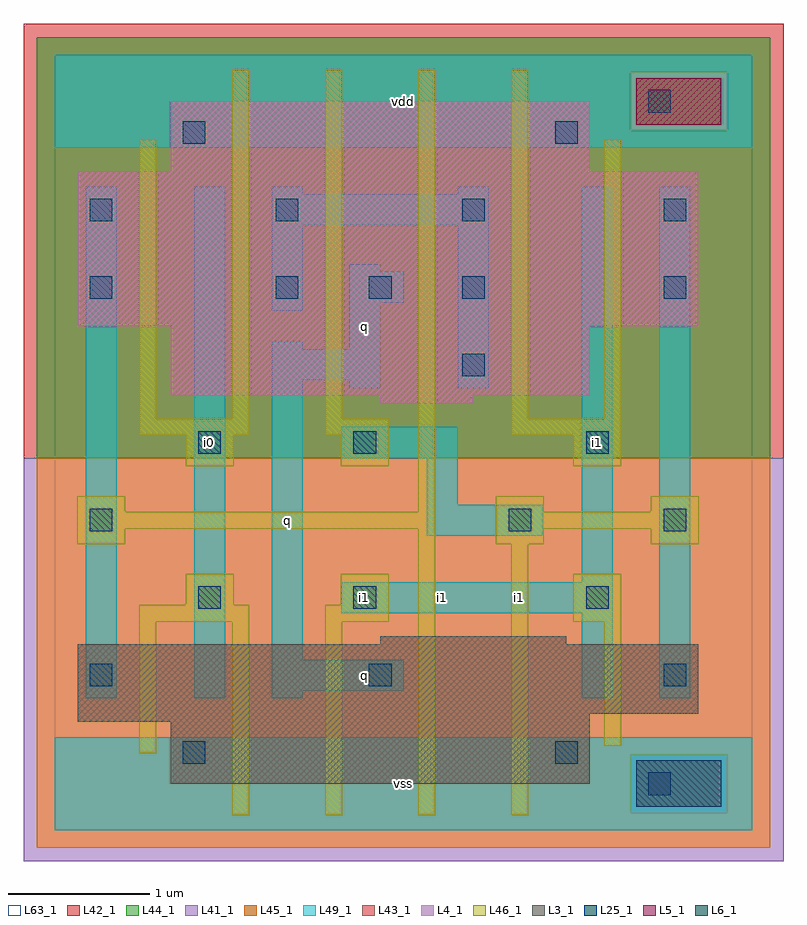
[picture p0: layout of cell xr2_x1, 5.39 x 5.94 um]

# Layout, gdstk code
import gdstk
lib = gdstk.Library(unit=1e-6, precision=1e-09)
def R(c, l, rs):  # rectangles x0, y0, x1, y1
    for r in rs: c.add(gdstk.rectangle(r[:2], r[2:], *l))
def A(c, l, x, y, w, h, nx, ny, dx, dy):  # array of equal rectangles
    R(c, l, [(x+i*dx, y+j*dy, x+i*dx+w, y+j*dy+h) for i in range(nx) for j in range(ny)])
L3_1 = (3, 1)
L4_1 = (4, 1)
L5_1 = (5, 1)
L6_1 = (6, 1)
L25_1 = (25, 1)
L41_1 = (41, 1)
L42_1 = (42, 1)
L43_1 = (43, 1)
L44_1 = (44, 1)
L45_1 = (45, 1)
L46_1 = (46, 1)
L49_1 = (49, 1)
L63_1 = (63, 1)

xr2_x1 = lib.new_cell('xr2_x1')
R(xr2_x1, L3_1, [(0.825,0.33,3.795,0.77), (0.165,0.77,3.795,0.825), (0.165,0.825,4.565,1.32), (2.31,1.32,3.63,1.375)])
R(xr2_x1, L4_1, [(2.31,3.025,2.97,3.08), (0.825,3.08,3.795,3.575), (0.165,3.575,4.565,4.675), (0.825,4.675,3.795,5.17)])
R(xr2_x1, L5_1, [(4.125,5.005,4.73,5.335)])
R(xr2_x1, L6_1, [(4.125,0.165,4.73,0.495)])
A(xr2_x1, L25_1, 1.57, 3.77, 0.16, 0.16, 3, 1, 0.66, 0)
A(xr2_x1, L25_1, 0.25, 4.32, 0.16, 0.16, 3, 1, 1.32, 0)
R(xr2_x1, L25_1, [(4.21,0.25,4.37,0.41), (0.91,0.47,1.07,0.63), (3.55,0.47,3.71,0.63), (0.25,1.02,0.41,1.18), (2.23,1.02,2.39,1.18), (4.32,1.02,4.48,1.18), (1.02,1.57,1.18,1.73), (2.12,1.57,2.28,1.73), (3.77,1.57,3.93,1.73), (0.25,2.12,0.41,2.28), (3.22,2.12,3.38,2.28), (4.32,2.12,4.48,2.28), (1.02,2.67,1.18,2.83), (2.12,2.67,2.28,2.83), (3.77,2.67,3.93,2.83), (2.89,3.22,3.05,3.38), (0.25,3.77,0.41,3.93), (4.32,3.77,4.48,3.93), (4.32,4.32,4.48,4.48), (0.91,4.87,1.07,5.03), (3.55,4.87,3.71,5.03), (4.21,5.09,4.37,5.25)])
R(xr2_x1, L41_1, [(-0.22,-0.22,5.17,2.64)])
R(xr2_x1, L42_1, [(-0.22,2.64,5.17,5.72)])
R(xr2_x1, L43_1, [(4.125,0.165,4.73,0.495), (0.825,0.33,3.795,0.77), (0.165,0.77,3.795,0.825), (0.165,0.825,4.565,1.32), (2.31,1.32,3.63,1.375), (2.31,3.025,2.97,3.08), (0.825,3.08,3.795,3.575), (0.165,3.575,4.565,4.675), (0.825,4.675,3.795,5.17), (4.125,5.005,4.73,5.335)])
R(xr2_x1, L44_1, [(4.085,0.125,4.77,0.535), (-0.125,2.64,5.075,4.965), (-0.125,4.965,4.085,5.375), (4.77,4.965,5.075,5.375), (-0.125,5.375,5.075,5.625)])
R(xr2_x1, L45_1, [(-0.125,-0.125,5.075,0.125), (-0.125,0.125,4.085,0.535), (4.77,0.125,5.075,0.535), (-0.125,0.535,5.075,2.64), (4.085,4.965,4.77,5.375)])
R(xr2_x1, L46_1, [(1.26,0.105,1.38,1.48), (1.92,0.105,2.04,1.48), (2.58,0.105,2.7,2.14), (3.24,0.105,3.36,2.03), (0.6,0.545,0.72,1.48), (3.9,0.6,4.02,1.48), (0.6,1.48,1.38,1.6), (1.92,1.48,2.37,1.6), (3.68,1.48,4.02,1.82), (0.93,1.6,1.27,1.82), (2.03,1.6,2.37,1.82), (0.16,2.03,0.5,2.14), (3.13,2.03,3.47,2.14), (4.23,2.03,4.57,2.14), (0.16,2.14,2.7,2.26), (3.13,2.14,4.57,2.26), (0.16,2.26,0.5,2.37), (2.58,2.26,2.7,5.395), (3.13,2.26,3.47,2.37), (4.23,2.26,4.57,2.37), (0.93,2.58,1.27,2.8), (2.03,2.58,2.37,2.8), (3.68,2.58,4.02,2.8), (0.6,2.8,1.38,2.92), (1.92,2.8,2.37,2.92), (3.24,2.8,4.02,2.92), (0.6,2.92,0.72,4.9), (1.26,2.92,1.38,5.395), (1.92,2.92,2.04,5.395), (3.24,2.92,3.36,5.395), (3.9,2.92,4.02,4.9)])
R(xr2_x1, L49_1, [(0,0,4.95,0.66), (0.22,0.935,0.44,4.565), (0.99,0.935,1.21,4.565), (1.54,0.935,1.76,0.99), (3.74,0.935,3.96,1.54), (4.29,0.935,4.51,4.565), (1.54,0.99,2.475,1.21), (1.54,1.21,1.76,3.19), (2.035,1.54,3.96,1.76), (3.74,1.76,3.96,4.565), (2.64,2.09,3.465,2.31), (2.64,2.31,2.86,2.64), (2.035,2.64,2.86,2.86), (2.09,3.135,2.31,3.19), (2.86,3.135,3.08,4.29), (1.54,3.19,2.31,3.41), (1.54,3.41,1.76,3.465), (2.09,3.41,2.31,3.74), (1.54,3.685,1.76,4.29), (2.09,3.74,2.475,3.96), (2.09,3.96,2.31,4.015), (1.54,4.29,3.08,4.51), (1.54,4.51,1.76,4.565), (2.86,4.51,3.08,4.565), (0,4.84,4.95,5.5)])
R(xr2_x1, L63_1, [(0,0,4.95,5.5)])
xr2_x1.add(gdstk.Label('q', (1.65,2.2), layer=49, texttype=1))
xr2_x1.add(gdstk.Label('i0', (1.1,2.75), layer=49, texttype=1))
xr2_x1.add(gdstk.Label('vss', (2.475,0.33), layer=49, texttype=1))
xr2_x1.add(gdstk.Label('q', (2.2,1.1), layer=49, texttype=1))
xr2_x1.add(gdstk.Label('i1', (2.75,1.65), layer=49, texttype=1))
xr2_x1.add(gdstk.Label('i1', (2.2,1.65), layer=49, texttype=1))
xr2_x1.add(gdstk.Label('q', (2.2,3.575), layer=49, texttype=1))
xr2_x1.add(gdstk.Label('vdd', (2.475,5.17), layer=49, texttype=1))
xr2_x1.add(gdstk.Label('i1', (3.3,1.65), layer=49, texttype=1))
xr2_x1.add(gdstk.Label('i1', (3.85,2.75), layer=49, texttype=1))

lib.write_gds('xr2_x1.gds')
